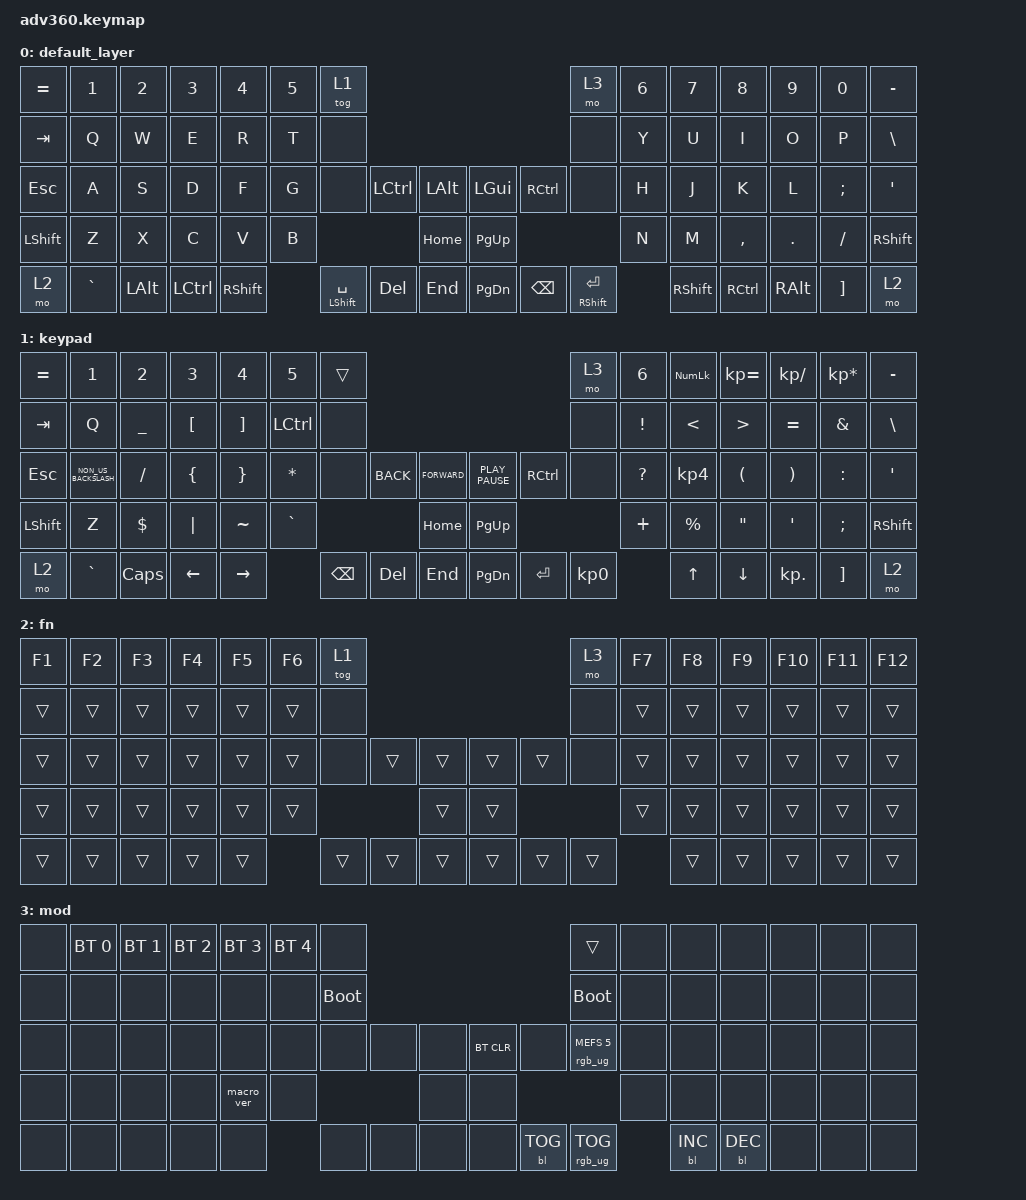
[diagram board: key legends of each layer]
#include <behaviors.dtsi>
#include <dt-bindings/zmk/backlight.h>
#include <dt-bindings/zmk/bt.h>
#include <dt-bindings/zmk/keys.h>
#include <dt-bindings/zmk/rgb.h>

/ {
    behaviors {
        #include "macros.dtsi"
      #include "version.dtsi"
      #ifndef VERSION_MACRO

        macro_ver: macro_ver {
            compatible = "zmk,behavior-macro";
            label = "macro_version";
            #binding-cells = <0>;
            bindings = <&kp RET>;
        };

        #endif

        hm: homerow_mods {
            compatible = "zmk,behavior-hold-tap";
            label = "HOMEROW_MODS";
            #binding-cells = <2>;
            tapping-term-ms = <200>;
            quick_tap_ms = <175>;
            flavor = "tap-preferred";
            bindings = <&kp>, <&kp>;
        };
    };

    macros {
    };

    keymap {
        compatible = "zmk,keymap";

        default_layer {
            bindings = <
&kp EQUAL  &kp N1     &kp N2    &kp N3     &kp N4      &kp N5  &tog 1                                                               &mo 3             &kp N6  &kp N7      &kp N8     &kp N9         &kp N0    &kp MINUS
&kp TAB    &kp Q      &kp W     &kp E      &kp R       &kp T   &none                                                                &none             &kp Y   &kp U       &kp I      &kp O          &kp P     &kp BSLH
&kp ESC    &kp A      &kp S     &kp D      &kp F       &kp G   &none             &kp LCTRL  &kp LALT      &kp LGUI   &kp RCTRL      &none             &kp H   &kp J       &kp K      &kp L          &kp SEMI  &kp SQT
&kp LSHFT  &kp Z      &kp X     &kp C      &kp V       &kp B                                &kp HOME      &kp PG_UP                                   &kp N   &kp M       &kp COMMA  &kp DOT        &kp FSLH  &kp RSHFT
&mo 2      &kp GRAVE  &kp LALT  &kp LCTRL  &kp RSHIFT          &mt LSHIFT SPACE  &kp DEL    &kp END       &kp PG_DN  &kp BACKSPACE  &mt RSHIFT ENTER          &kp RSHIFT  &kp RCTRL  &kp RIGHT_ALT  &kp RBKT  &mo 2
            >;
        };

        keypad {
            bindings = <
&kp EQUAL  &kp N1                &kp N2          &kp N3            &kp N4             &kp N5        &trans                                                                &mo 3      &kp N6           &kp KP_NUM     &kp KP_EQUAL          &kp KP_DIVIDE          &kp KP_MULTIPLY  &kp MINUS
&kp TAB    &kp Q                 &kp UNDERSCORE  &kp LEFT_BRACKET  &kp RIGHT_BRACKET  &kp LCTRL     &none                                                                 &none      &kp EXCLAMATION  &kp LESS_THAN  &kp GREATER_THAN      &kp EQUAL              &kp AMPERSAND    &kp BSLH
&kp ESC    &kp NON_US_BACKSLASH  &kp SLASH       &kp LEFT_BRACE    &kp RIGHT_BRACE    &kp ASTERISK  &none     &kp K_BACK  &kp K_FORWARD      &kp K_PLAY_PAUSE  &kp RCTRL  &none      &kp QUESTION     &kp KP_N4      &kp LEFT_PARENTHESIS  &kp RIGHT_PARENTHESIS  &kp COLON        &kp SQT
&kp LSHFT  &kp Z                 &kp DOLLAR      &kp PIPE          &kp TILDE          &kp GRAVE                           &kp HOME           &kp PG_UP                               &kp PLUS         &kp PERCENT    &kp DOUBLE_QUOTES     &kp SQT                &kp SEMICOLON    &kp RSHFT
&mo 2      &kp GRAVE             &kp CAPS        &kp LEFT          &kp RIGHT                        &kp BSPC  &kp DEL     &kp END            &kp PG_DN         &kp ENTER  &kp KP_N0                   &kp UP         &kp DOWN              &kp KP_DOT             &kp RBKT         &mo 2
            >;
        };

        fn {
            bindings = <
&kp F1  &kp F2  &kp F3  &kp F4  &kp F5  &kp F6  &tog 1                                      &mo 3   &kp F7  &kp F8  &kp F9  &kp F10  &kp F11  &kp F12
&trans  &trans  &trans  &trans  &trans  &trans  &none                                       &none   &trans  &trans  &trans  &trans   &trans   &trans
&trans  &trans  &trans  &trans  &trans  &trans  &none   &trans  &trans      &trans  &trans  &none   &trans  &trans  &trans  &trans   &trans   &trans
&trans  &trans  &trans  &trans  &trans  &trans                  &trans      &trans                  &trans  &trans  &trans  &trans   &trans   &trans
&trans  &trans  &trans  &trans  &trans          &trans  &trans  &trans      &trans  &trans  &trans          &trans  &trans  &trans   &trans   &trans
            >;
        };

        mod {
            bindings = <
&none  &bt BT_SEL 0  &bt BT_SEL 1  &bt BT_SEL 2  &bt BT_SEL 3  &bt BT_SEL 4  &none                                                  &trans                  &none  &none       &none       &none  &none  &none
&none  &none         &none         &none         &none         &none         &bootloader                                            &bootloader             &none  &none       &none       &none  &none  &none
&none  &none         &none         &none         &none         &none         &none        &none  &none      &bt BT_CLR  &none       &rgb_ug RGB_MEFS_CMD 5  &none  &none       &none       &none  &none  &none
&none  &none         &none         &none         &macro_ver    &none                             &none      &none                                           &none  &none       &none       &none  &none  &none
&none  &none         &none         &none         &none                       &none        &none  &none      &none       &bl BL_TOG  &rgb_ug RGB_TOG                &bl BL_INC  &bl BL_DEC  &none  &none  &none
            >;
        };
    };
};
